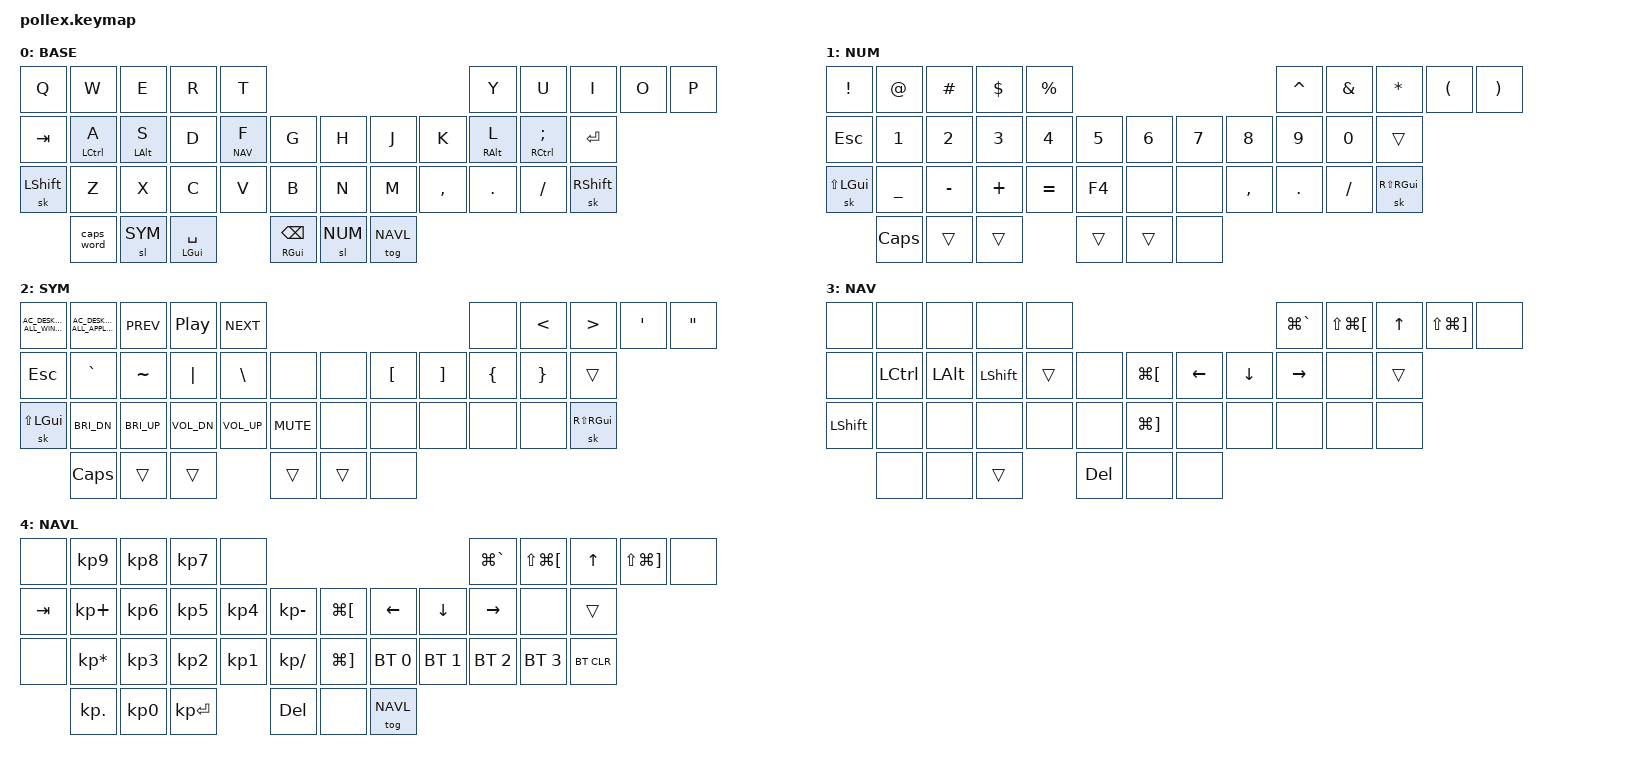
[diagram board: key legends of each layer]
#include <behaviors.dtsi>
#include <dt-bindings/zmk/keys.h>
#include <dt-bindings/zmk/bt.h>
#include <dt-bindings/zmk/outputs.h>

#define BASE 0
#define NUM  1
#define SYM  2
#define NAV  3
#define NAVL 4

/ {

    behaviors {
        hm: homerow_mods {
            compatible = "zmk,behavior-hold-tap";
            label = "HOMEROW_MODS";
            #binding-cells = <2>;
            tapping-term-ms = <250>;
            quick-tap-ms = <0>;
            flavor = "tap-preferred";
            bindings = <&kp>, <&kp>;
        };
    };

        keymap {
                compatible = "zmk,keymap";
                base_layer {

label= "BASE";

// QWERTY
//           -----------------------------------                     ---------------------------------- 
//           |   Q  |   W  |   E  |   R  |   T  |                    |   Y  |   U  |   I  |   O  |   P  |
//    ------------------------------------------                     -------------------------------------------
//   | TAB   |   A  |   S  |   D  |   F  |   G  |                    |   H  |   J  |   K  |   L  |   ;  | RETURN|
//   ------------------------------------------                     -------------------------------------------
//   |L_SHIFT|   Z  |   X  |   C  |   V  |   B  |                    |   N  |   M  |   ,  |   .  |   /  |R_SHIFT|
//   ------------------------------------------------           -----------------------------------------------
//                           | CAPS  |  SYM  | SPACE |         | BSPC  |  NUM  | LOCK  |
//                            -----------------------           -----------------------

 bindings = <

	&kp Q	&kp W	&kp E	&kp R	&kp T		&kp Y	&kp U	&kp I	&kp O	&kp P	
&kp TAB	&hm LCTRL A	&hm LALT S	&kp D	&lt NAV F	&kp G		&kp H	&kp J	&kp K	&hm RALT L	&hm RCTRL SEMI	&kp ENTER
&sk LSHFT	&kp Z	&kp X	&kp C	&kp V	&kp B		&kp N	&kp M	&kp COMMA	&kp DOT	&kp FSLH	&sk RSHFT
			&caps_word	&sl SYM	&mt LGUI SPACE		&mt RGUI BSPC	&sl NUM	&tog NAVL			
                        >;
                };

    			number_layer {

label= "NUM";
   
 bindings = <
    &kp EXCL    &kp AT  &kp HASH    &kp DLLR    &kp PRCNT       &kp CARET   &kp AMPS    &kp ASTRK   &kp LPAR    &kp RPAR    
&kp ESC &kp N1  &kp N2  &kp N3  &kp N4  &kp N5      &kp N6  &kp N7  &kp N8  &kp N9  &kp N0  &trans
&sk LS(LGUI)    &kp UNDER   &kp MINUS   &kp PLUS    &kp EQUAL   &kp F4      &none   &none   &kp COMMA   &kp DOT &kp FSLH    &sk RS(RGUI)
            &kp CAPS    &trans  &trans      &trans  &trans  &none                 
                        >;
                };

                symbol_layer {

label= "SYM";
   
 bindings = <
    &kp C_AC_DESKTOP_SHOW_ALL_WINDOWS   &kp C_AC_DESKTOP_SHOW_ALL_APPLICATIONS  &kp C_PREV  &kp C_PP    &kp C_NEXT      &none   &kp LT  &kp GT  &kp SQT &kp DQT 
&kp ESC &kp GRAVE   &kp TILDE   &kp PIPE    &kp BSLH    &none       &none   &kp LBKT    &kp RBKT    &kp LBRC    &kp RBRC    &trans
&sk LS(LGUI)    &kp C_BRI_DN    &kp C_BRI_UP    &kp C_VOL_DN    &kp C_VOL_UP    &kp C_MUTE      &none   &none   &none   &none   &none   &sk RS(RGUI)
            &kp CAPS    &trans  &trans      &trans  &trans  &none           
                        >;
                };

                navigation_layer {

label= "NAV";
   
 bindings = <
	&none	&none	&none	&none	&none		&kp LG(GRAVE)	&kp LS(LG(LBKT))	&kp UP	&kp LS(LG(RBKT))	&none	
&none	&kp LCTRL	&kp LALT	&kp LSHFT	&trans	&none		&kp LG(LBKT)	&kp LEFT	&kp DOWN	&kp RIGHT	&none	&trans
&kp LSHFT	&none	&none	&none	&none	&none		&kp LG(RBKT)	&none	&none	&none	&none	&none
			&none	&none	&trans		&kp DEL	&none	&none			         

                        >;
                };

                nav_num_layer {

label= "NAVL";
   
 bindings = <
    &none   &kp KP_N9   &kp KP_N8   &kp KP_N7   &none       &kp LG(GRAVE)   &kp LS(LG(LBKT))    &kp UP  &kp LS(LG(RBKT))    &none   
&kp TAB &kp KP_PLUS &kp KP_N6   &kp KP_N5   &kp KP_N4   &kp KP_MINUS        &kp LG(LBKT)    &kp LEFT    &kp DOWN    &kp RIGHT   &none   &trans
&none   &kp KP_MULTIPLY &kp KP_N3   &kp KP_N2   &kp KP_N1   &kp KP_SLASH        &kp LG(RBKT)    &bt BT_SEL 0    &bt BT_SEL 1    &bt BT_SEL 2    &bt BT_SEL 3    &bt BT_CLR
            &kp KP_DOT  &kp KP_N0   &kp KP_ENTER        &kp DEL &none   &tog NAVL           
                        >;
                };


        };
};

